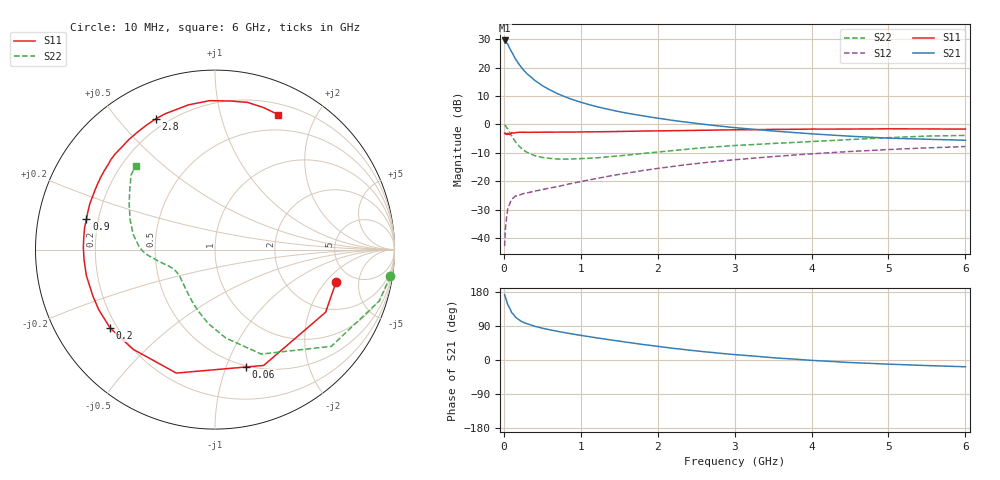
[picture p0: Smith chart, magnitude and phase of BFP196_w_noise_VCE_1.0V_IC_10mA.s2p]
! Infineon Technologies  Discrete & RF Semiconductors
! BFP196
! VCE =  1.0 V,  IC =  10 mA
! Common Emitter S-Parameters:  Jan 2017
# GHz  S  MA  R  50
!  f  S11  S21  S12  S22
! GHz  MAG  ANG  MAG  ANG  MAG  ANG  MAG  ANG
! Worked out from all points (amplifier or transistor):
!   77 points, 10 MHz to 6 GHz, reference 50 ohm
!   highest |S21| = 29.6 dB at 10 MHz (marker M1)
!   |S21| within 3 dB of that: start of sweep to 81.07 MHz
!   unconditionally stable (mu >= 1): 931.4 MHz to 2.649 GHz
!   at 130 MHz: K = 0.24, MSG = 24.9 dB, |S12| = -25.7 dB
!   at 2.2 GHz: K = 1.04, MAG = 6.9 dB, |S12| = -14.8 dB
!   at 6 GHz: K = 0.98, MSG = 1.1 dB, |S12| = -7.8 dB
!   lowest NFmin = 0.99 dB at 450 MHz
!   S11 on the Smith chart (normalised r, x): 10 MHz: 3.66, -2.62; 60 MHz: 0.49, -1.18; 200 MHz: 0.17, -0.32; 900 MHz: 0.15, +0.11; 2.8 GHz: 0.16, +0.63; 6 GHz: 0.32, +1.53
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0.01  0.6981 -15.2  30.18 172.7  0.0072 83.8  0.9876 -8.6
0.02  0.7083 -29.5  29.89 165.5  0.0142 79.8  0.9594 -17.3
0.05  0.7001 -67.2  25.93 146.3  0.0319 60.0  0.8432 -39.7
0.06  0.6767 -75.1  24.36 143.1  0.0349 55.9  0.7907 -43.8
0.1  0.721 -107.4  19.15 125.5  0.0481 45.0  0.6369 -66.1
0.15  0.719 -129.6  14.35 113.4  0.0546 36.8  0.4966 -83.0
0.2  0.7295 -143.2  11.35 105.6  0.0571 33.6  0.4137 -95.2
0.25  0.7293 -152.7  9.295 99.7  0.0605 32.4  0.3592 -104.3
0.3  0.7279 -159.2  7.848 95.7  0.0623 32.2  0.3236 -112.0
0.4  0.7312 -168.6  5.996 89.0  0.067 33.7  0.2829 -123.1
0.5  0.7318 -175.6  4.827 83.9  0.0713 35.5  0.2628 -131.3
0.6  0.7336 179.1  4.055 79.5  0.0763 37.7  0.2528 -137.8
0.7  0.7343 174.7  3.485 75.7  0.0805 39.5  0.2466 -142.4
0.9  0.7359 166.7  2.725 68.4  0.0928 42.9  0.2476 -149.2
1.1  0.7427 159.9  2.253 61.9  0.1053 45.0  0.254 -154.2
1.5  0.7533 147.7  1.681 49.8  0.1323 46.2  0.2806 -162.0
2.1  0.7739 130.7  1.234 33.5  0.1756 44.1  0.3371 -170.7
2.8  0.7997 114.3  0.94 17.9  0.2258 38.5  0.4086 -179.7
3.1  0.807 108.1  0.856 12.7  0.2457 35.4  0.4327 175.5
4.1  0.8295 90.4  0.672 -2.1  0.3102 24.7  0.5087 158.8
5.1  0.8384 76.2  0.57 -11.7  0.3669 13.2  0.5931 142.9
6  0.8301 64.9  0.528 -17.9  0.4091 2.9  0.6425 133.4
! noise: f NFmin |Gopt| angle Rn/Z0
0.45  0.99  0.35  147  0.06
0.9  1.29  0.5  174  0.05
1.9  2.4  0.7  -139  0.25
2.4  2.9  0.73  -123  0.68
